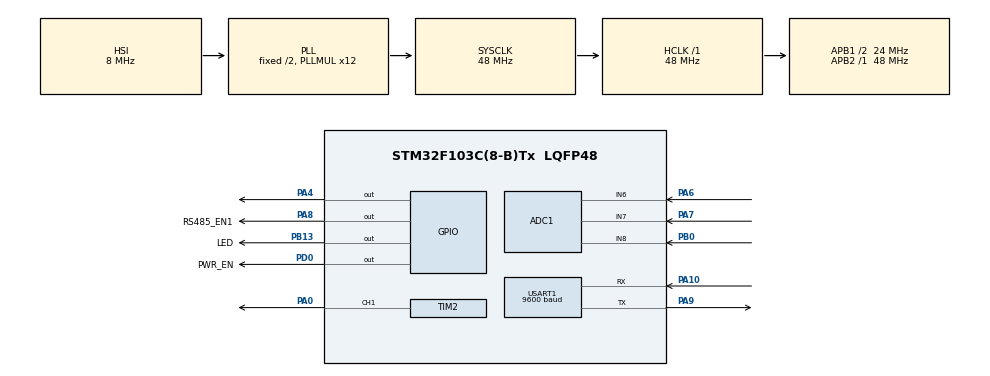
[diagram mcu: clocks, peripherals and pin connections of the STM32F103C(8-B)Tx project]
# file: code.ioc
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ADC1.Channel-0\#ChannelRegularConversion=ADC_CHANNEL_VREFINT
ADC1.Channel-1\#ChannelRegularConversion=ADC_CHANNEL_6
ADC1.Channel-2\#ChannelRegularConversion=ADC_CHANNEL_8
ADC1.Channel-3\#ChannelRegularConversion=ADC_CHANNEL_7
ADC1.DiscontinuousConvMode=ENABLE
ADC1.NbrOfConversion=4
ADC1.NbrOfConversionFlag=1
ADC1.Rank-0\#ChannelRegularConversion=1
ADC1.Rank-1\#ChannelRegularConversion=2
ADC1.Rank-2\#ChannelRegularConversion=3
ADC1.Rank-3\#ChannelRegularConversion=4
ADC1.SamplingTime-0\#ChannelRegularConversion=ADC_SAMPLETIME_71CYCLES_5
ADC1.SamplingTime-1\#ChannelRegularConversion=ADC_SAMPLETIME_71CYCLES_5
ADC1.SamplingTime-2\#ChannelRegularConversion=ADC_SAMPLETIME_71CYCLES_5
ADC1.SamplingTime-3\#ChannelRegularConversion=ADC_SAMPLETIME_71CYCLES_5
ADC1.master=1
Mcu.Family=STM32F1
Mcu.Name=STM32F103C(8-B)Tx
Mcu.Package=LQFP48
NVIC.PriorityGroup=NVIC_PRIORITYGROUP_4
NVIC.TIM2_IRQn=true\:0\:0\:false\:false\:true\:true\:true
NVIC.USART1_IRQn=true\:0\:0\:false\:false\:true\:true\:true
PA0-WKUP.Signal=S_TIM2_CH1_ETR
PA1.Signal=ADCx_IN1
PA10.Mode=Asynchronous
PA10.Signal=USART1_RX
PA13.Mode=Serial_Wire
PA13.Signal=SYS_JTMS-SWDIO
PA14.Mode=Serial_Wire
PA14.Signal=SYS_JTCK-SWCLK
PA2.Signal=ADCx_IN2
PA4.Signal=GPIO_Output
PA6.Signal=ADCx_IN6
PA7.Signal=ADCx_IN7
PA8.GPIO_Label=RS485_EN1
PA8.Signal=GPIO_Output
PA9.Mode=Asynchronous
PA9.Signal=USART1_TX
PB0.Signal=ADCx_IN8
PB13.GPIO_Label=LED
PB13.Signal=GPIO_Output
PD0-OSC_IN.GPIO_Label=PWR_EN
PD0-OSC_IN.Signal=GPIO_Output
ProjectManager.HeapSize=0x200
ProjectManager.StackSize=0x400
ProjectManager.TargetToolchain=MDK-ARM V5
RCC.ADCPresc=RCC_ADCPCLK2_DIV4
RCC.AHBFreq_Value=48000000
RCC.APB1CLKDivider=RCC_HCLK_DIV2
RCC.APB1Freq_Value=24000000
RCC.APB1TimFreq_Value=48000000
RCC.APB2Freq_Value=48000000
RCC.APB2TimFreq_Value=48000000
RCC.HCLKFreq_Value=48000000
RCC.PLLMUL=RCC_PLL_MUL12
RCC.SYSCLKFreq_VALUE=48000000
RCC.SYSCLKSource=RCC_SYSCLKSOURCE_PLLCLK
RCC.USBFreq_Value=48000000
SH.ADCx_IN1.0=ADC1_IN1
SH.ADCx_IN2.0=ADC1_IN2
SH.ADCx_IN6.0=ADC1_IN6,IN6
SH.ADCx_IN7.0=ADC1_IN7,IN7
SH.ADCx_IN8.0=ADC1_IN8,IN8
SH.S_TIM2_CH1_ETR.0=TIM2_CH1,PWM Generation1 CH1
TIM2.AutoReloadPreload=TIM_AUTORELOAD_PRELOAD_DISABLE
TIM2.Channel-PWM\ Generation1\ CH1=TIM_CHANNEL_1
TIM2.CounterMode=TIM_COUNTERMODE_DOWN
TIM2.Period=39
TIM2.Prescaler=4799
USART1.BaudRate=9600
USART1.VirtualMode=VM_ASYNC
VP_ADC1_Vref_Input.Mode=IN-Vrefint
VP_TIM2_VS_ClockSourceINT.Mode=Internal
board=custom

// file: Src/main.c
/* USER CODE BEGIN Header */
/**
  ******************************************************************************
  * @file           : main.c
  * @brief          : Main program body
  ******************************************************************************
  * @attention
  *
  * <h2><center>&copy; Copyright (c) 2020 STMicroelectronics.
  * All rights reserved.</center></h2>
  *
  * This software component is licensed by ST under BSD 3-Clause license,
  * the "License"; You may not use this file except in compliance with the
  * License. You may obtain a copy of the License at:
  *                        opensource.org/licenses/BSD-3-Clause
  *
  ******************************************************************************
  */
/* USER CODE END Header */

#include "main.h"

/* USER CODE BEGIN Includes */
#include "modbus.h"
#include "app.h"
#include "adc.h"
/* USER CODE END Includes */

ADC_HandleTypeDef hadc1;

TIM_HandleTypeDef htim2;

UART_HandleTypeDef huart1;

void SystemClock_Config(void);
static void MX_GPIO_Init(void);
static void MX_ADC1_Init(void);
static void MX_USART1_UART_Init(void);
static void MX_TIM2_Init(void);

/* USER CODE BEGIN 0 */
uint32_t freq,tickTime,freq_count;
extern unsigned char stop_flag ;
/* USER CODE END 0 */

int main(void)
{

  /* MCU Configuration--------------------------------------------------------*/

  /* Reset of all peripherals, Initializes the Flash interface and the Systick. */
  HAL_Init();

  /* Configure the system clock */
  SystemClock_Config();

  /* Initialize all configured peripherals */
  MX_GPIO_Init();
  MX_ADC1_Init();
  MX_USART1_UART_Init();
  MX_TIM2_Init();
  /* USER CODE BEGIN 2 */
	 params_init();//设备参数初始化
   RS485_Init();//
   HAL_GPIO_WritePin(PWR_EN_GPIO_Port, PWR_EN_Pin, GPIO_PIN_RESET);
   HAL_TIM_Base_Start_IT(&htim2);
   HAL_TIM_PWM_Start(&htim2,TIM_CHANNEL_1);
	 tickTime=HAL_GetTick();
  /* USER CODE END 2 */

  /* Infinite loop */
  while (1)
  {

    /* USER CODE BEGIN 3 */
		//HAL_Delay(1000);

		if((HAL_GetTick()-tickTime)>=1000)//led指示灯闪烁
		{
			 HAL_GPIO_TogglePin(LED_GPIO_Port, LED_Pin);
			 tickTime=HAL_GetTick();
		}
		app_loop();//主程序
  }
  /* USER CODE END 3 */
}

void SystemClock_Config(void)
{
  RCC_OscInitTypeDef RCC_OscInitStruct = {0};
  RCC_ClkInitTypeDef RCC_ClkInitStruct = {0};
  RCC_PeriphCLKInitTypeDef PeriphClkInit = {0};

  /** Initializes the CPU, AHB and APB busses clocks
  */
  RCC_OscInitStruct.OscillatorType = RCC_OSCILLATORTYPE_HSI;
  RCC_OscInitStruct.HSIState = RCC_HSI_ON;
  RCC_OscInitStruct.HSICalibrationValue = RCC_HSICALIBRATION_DEFAULT;
  RCC_OscInitStruct.PLL.PLLState = RCC_PLL_ON;
  RCC_OscInitStruct.PLL.PLLSource = RCC_PLLSOURCE_HSI_DIV2;
  RCC_OscInitStruct.PLL.PLLMUL = RCC_PLL_MUL12;
  if (HAL_RCC_OscConfig(&RCC_OscInitStruct) != HAL_OK)
  {
    Error_Handler();
  }
  /** Initializes the CPU, AHB and APB busses clocks
  */
  RCC_ClkInitStruct.ClockType = RCC_CLOCKTYPE_HCLK|RCC_CLOCKTYPE_SYSCLK
                              |RCC_CLOCKTYPE_PCLK1|RCC_CLOCKTYPE_PCLK2;
  RCC_ClkInitStruct.SYSCLKSource = RCC_SYSCLKSOURCE_PLLCLK;
  RCC_ClkInitStruct.AHBCLKDivider = RCC_SYSCLK_DIV1;
  RCC_ClkInitStruct.APB1CLKDivider = RCC_HCLK_DIV2;
  RCC_ClkInitStruct.APB2CLKDivider = RCC_HCLK_DIV1;

  if (HAL_RCC_ClockConfig(&RCC_ClkInitStruct, FLASH_LATENCY_1) != HAL_OK)
  {
    Error_Handler();
  }
  PeriphClkInit.PeriphClockSelection = RCC_PERIPHCLK_ADC;
  PeriphClkInit.AdcClockSelection = RCC_ADCPCLK2_DIV4;
  if (HAL_RCCEx_PeriphCLKConfig(&PeriphClkInit) != HAL_OK)
  {
    Error_Handler();
  }
}

static void MX_ADC1_Init(void)
{

  ADC_ChannelConfTypeDef sConfig = {0};

  /** Common config
  */
  hadc1.Instance = ADC1;
  hadc1.Init.ScanConvMode = ADC_SCAN_ENABLE;
  hadc1.Init.ContinuousConvMode = DISABLE;
  hadc1.Init.DiscontinuousConvMode = ENABLE;
  hadc1.Init.NbrOfDiscConversion = 1;
  hadc1.Init.ExternalTrigConv = ADC_SOFTWARE_START;
  hadc1.Init.DataAlign = ADC_DATAALIGN_RIGHT;
  hadc1.Init.NbrOfConversion = 4;
  if (HAL_ADC_Init(&hadc1) != HAL_OK)
  {
    Error_Handler();
  }
  /** Configure Regular Channel
  */
  sConfig.Channel = ADC_CHANNEL_VREFINT;
  sConfig.Rank = ADC_REGULAR_RANK_1;
  sConfig.SamplingTime = ADC_SAMPLETIME_71CYCLES_5;
  if (HAL_ADC_ConfigChannel(&hadc1, &sConfig) != HAL_OK)
  {
    Error_Handler();
  }
  /** Configure Regular Channel
  */
  sConfig.Channel = ADC_CHANNEL_6;
  sConfig.Rank = ADC_REGULAR_RANK_2;
  if (HAL_ADC_ConfigChannel(&hadc1, &sConfig) != HAL_OK)
  {
    Error_Handler();
  }
  /** Configure Regular Channel
  */
  sConfig.Channel = ADC_CHANNEL_8;
  sConfig.Rank = ADC_REGULAR_RANK_3;
  if (HAL_ADC_ConfigChannel(&hadc1, &sConfig) != HAL_OK)
  {
    Error_Handler();
  }
  /** Configure Regular Channel
  */
  sConfig.Channel = ADC_CHANNEL_7;
  sConfig.Rank = ADC_REGULAR_RANK_4;
  if (HAL_ADC_ConfigChannel(&hadc1, &sConfig) != HAL_OK)
  {
    Error_Handler();
  }

}

static void MX_TIM2_Init(void)
{

  TIM_ClockConfigTypeDef sClockSourceConfig = {0};
  TIM_MasterConfigTypeDef sMasterConfig = {0};
  TIM_OC_InitTypeDef sConfigOC = {0};

  htim2.Instance = TIM2;
  htim2.Init.Prescaler = 4799;
  htim2.Init.CounterMode = TIM_COUNTERMODE_DOWN;
  htim2.Init.Period = 39;
  htim2.Init.ClockDivision = TIM_CLOCKDIVISION_DIV1;
  htim2.Init.AutoReloadPreload = TIM_AUTORELOAD_PRELOAD_DISABLE;
  if (HAL_TIM_Base_Init(&htim2) != HAL_OK)
  {
    Error_Handler();
  }
  sClockSourceConfig.ClockSource = TIM_CLOCKSOURCE_INTERNAL;
  if (HAL_TIM_ConfigClockSource(&htim2, &sClockSourceConfig) != HAL_OK)
  {
    Error_Handler();
  }
  if (HAL_TIM_PWM_Init(&htim2) != HAL_OK)
  {
    Error_Handler();
  }
  sMasterConfig.MasterOutputTrigger = TIM_TRGO_RESET;
  sMasterConfig.MasterSlaveMode = TIM_MASTERSLAVEMODE_DISABLE;
  if (HAL_TIMEx_MasterConfigSynchronization(&htim2, &sMasterConfig) != HAL_OK)
  {
    Error_Handler();
  }
  sConfigOC.OCMode = TIM_OCMODE_PWM1;
  sConfigOC.Pulse = 0;
  sConfigOC.OCPolarity = TIM_OCPOLARITY_HIGH;
  sConfigOC.OCFastMode = TIM_OCFAST_DISABLE;
  if (HAL_TIM_PWM_ConfigChannel(&htim2, &sConfigOC, TIM_CHANNEL_1) != HAL_OK)
  {
    Error_Handler();
  }
  HAL_TIM_MspPostInit(&htim2);

}

static void MX_USART1_UART_Init(void)
{

  huart1.Instance = USART1;
  huart1.Init.BaudRate = 9600;
  huart1.Init.WordLength = UART_WORDLENGTH_8B;
  huart1.Init.StopBits = UART_STOPBITS_1;
  huart1.Init.Parity = UART_PARITY_NONE;
  huart1.Init.Mode = UART_MODE_TX_RX;
  huart1.Init.HwFlowCtl = UART_HWCONTROL_NONE;
  huart1.Init.OverSampling = UART_OVERSAMPLING_16;
  if (HAL_UART_Init(&huart1) != HAL_OK)
  {
    Error_Handler();
  }

}

static void MX_GPIO_Init(void)
{
  GPIO_InitTypeDef GPIO_InitStruct = {0};

  /* GPIO Ports Clock Enable */
  __HAL_RCC_GPIOD_CLK_ENABLE();
  __HAL_RCC_GPIOA_CLK_ENABLE();
  __HAL_RCC_GPIOB_CLK_ENABLE();

  /*Configure GPIO pin Output Level */
  HAL_GPIO_WritePin(PWR_EN_GPIO_Port, PWR_EN_Pin, GPIO_PIN_RESET);

  /*Configure GPIO pin Output Level */
  HAL_GPIO_WritePin(GPIOA, GPIO_PIN_4|RS485_EN1_Pin, GPIO_PIN_RESET);

  /*Configure GPIO pin Output Level */
  HAL_GPIO_WritePin(LED_GPIO_Port, LED_Pin, GPIO_PIN_RESET);

  /*Configure GPIO pin : PWR_EN_Pin */
  GPIO_InitStruct.Pin = PWR_EN_Pin;
  GPIO_InitStruct.Mode = GPIO_MODE_OUTPUT_PP;
  GPIO_InitStruct.Pull = GPIO_NOPULL;
  GPIO_InitStruct.Speed = GPIO_SPEED_FREQ_LOW;
  HAL_GPIO_Init(PWR_EN_GPIO_Port, &GPIO_InitStruct);

  /*Configure GPIO pins : PA4 RS485_EN1_Pin */
  GPIO_InitStruct.Pin = GPIO_PIN_4|RS485_EN1_Pin;
  GPIO_InitStruct.Mode = GPIO_MODE_OUTPUT_PP;
  GPIO_InitStruct.Pull = GPIO_NOPULL;
  GPIO_InitStruct.Speed = GPIO_SPEED_FREQ_LOW;
  HAL_GPIO_Init(GPIOA, &GPIO_InitStruct);

  /*Configure GPIO pin : LED_Pin */
  GPIO_InitStruct.Pin = LED_Pin;
  GPIO_InitStruct.Mode = GPIO_MODE_OUTPUT_PP;
  GPIO_InitStruct.Pull = GPIO_NOPULL;
  GPIO_InitStruct.Speed = GPIO_SPEED_FREQ_LOW;
  HAL_GPIO_Init(LED_GPIO_Port, &GPIO_InitStruct);

  /*Configure peripheral I/O remapping */
  __HAL_AFIO_REMAP_PD01_ENABLE();

}

void Error_Handler(void)
{
}

/************************ (C) COPYRIGHT STMicroelectronics *****END OF FILE****/
